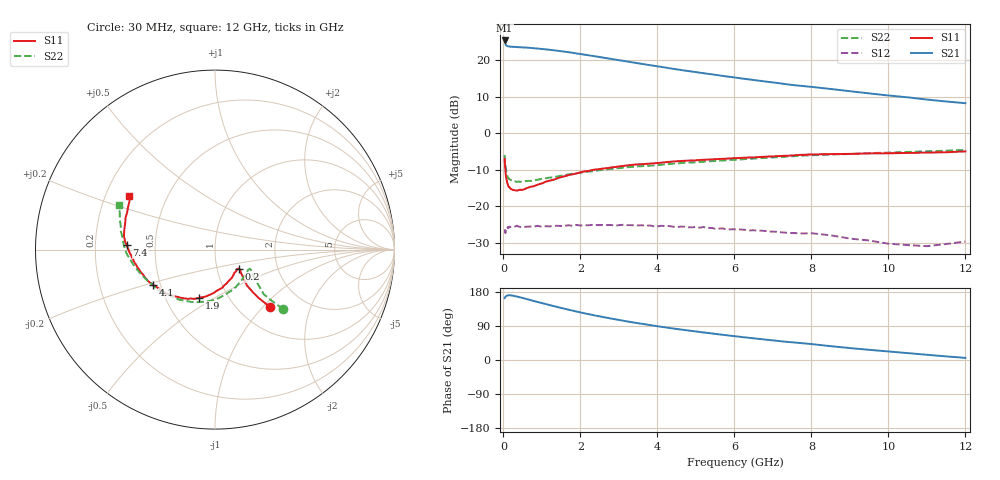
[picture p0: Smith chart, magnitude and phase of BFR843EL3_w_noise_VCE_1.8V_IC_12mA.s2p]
! Infineon Technologies  Discrete & RF Semiconductors
! BFR843EL3
! VCE =  1.8 V,  IC =  12 mA
! Common Emitter S-Parameters:  Aug 2013
# GHz  S  MA  R  50
!  f  S11  S21  S12  S22
! GHz  MAG  ANG  MAG  ANG  MAG  ANG  MAG  ANG
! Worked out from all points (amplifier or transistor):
!   103 points, 30 MHz to 12 GHz, reference 50 ohm
!   highest |S21| = 25.4 dB at 30 MHz (marker M1)
!   |S21| within 3 dB of that: start of sweep to 1.542 GHz
!   unconditionally stable (mu >= 1): 5.085 GHz to 5.127 GHz; 5.228 GHz to end of sweep
!   at 400 MHz: K = 1.00, MSG = 24.5 dB, |S12| = -25.6 dB
!   at 3.7 GHz: K = 0.89, MSG = 22.0 dB, |S12| = -25.3 dB
!   at 12 GHz: K = 2.66, MAG = 11.8 dB, |S12| = -29.6 dB
!   lowest NFmin = 0.93 dB at 450 MHz
!   S11 on the Smith chart (normalised r, x): 30 MHz: 1.38, -1.10; 200 MHz: 1.28, -0.28; 1.9 GHz: 0.74, -0.43; 4.1 GHz: 0.46, -0.21; 7.4 GHz: 0.34, +0.02; 12 GHz: 0.30, +0.26
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0.03  0.444 -46.2  18.56 163.3  0.0464 29.3  0.5051 -41.1
0.04  0.3643 -47.9  17.41 164.7  0.0474 23.7  0.4222 -42.1
0.06  0.2705 -48.4  16.23 167.5  0.0466 21.4  0.3308 -40.4
0.08  0.234 -45.7  15.78 169.3  0.0511 12.4  0.2852 -37.6
0.13  0.1874 -41.1  15.39 170.7  0.0503 7.3  0.2412 -31.6
0.2  0.1716 -38.5  15.22 170.5  0.0521 5.1  0.2271 -29.1
0.6  0.1768 -55.3  14.83 160.9  0.0526 2.1  0.2221 -42.0
0.8  0.1888 -65.4  14.52 155.4  0.053 3.1  0.2277 -51.5
1.2  0.2245 -84.8  13.84 144.9  0.0531 1.9  0.2469 -69.0
1.5  0.2511 -95.6  13.23 137.3  0.0539 1.6  0.2619 -80.7
1.9  0.2815 -107.9  12.33 127.8  0.0556 1.1  0.2841 -93.4
2.1  0.2995 -113.5  11.88 123.3  0.0551 -0.5  0.2941 -100.1
2.6  0.3298 -125.6  10.79 113.1  0.0559 -2.3  0.3162 -112.7
3.1  0.3559 -135.0  9.792 103.9  0.0559 -2.7  0.3359 -123.0
3.5  0.3757 -142.2  9.044 97.0  0.0548 -4.5  0.352 -130.5
4.1  0.3956 -150.2  8.072 87.6  0.0541 -6.6  0.3702 -139.1
5.1  0.4305 -162.5  6.724 73.9  0.051 -7.8  0.4033 -152.2
6.1  0.4573 -172.3  5.692 61.8  0.0485 -7.7  0.4373 -162.5
7.4  0.492 177.0  4.64 47.5  0.0434 -9.7  0.4805 -174.0
8.5  0.518 167.2  4.027 36.5  0.0401 -10.0  0.5118 176.1
10.5  0.5372 154.8  3.096 18.2  0.0295 4.5  0.5545 162.7
12  0.5642 148.1  2.572 5.6  0.033 27.7  0.591 155.0
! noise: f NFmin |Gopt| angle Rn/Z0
0.45  0.93  0.05  82  0.12
0.9  0.94  0.06  89  0.12
1.5  0.96  0.07  95  0.11
1.9  0.97  0.08  98  0.11
2.4  0.99  0.08  107  0.11
3.5  1.01  0.11  121  0.11
5.5  1.06  0.17  151  0.1
8  1.12  0.28  183  0.07
10  1.16  0.4  213  0.06
